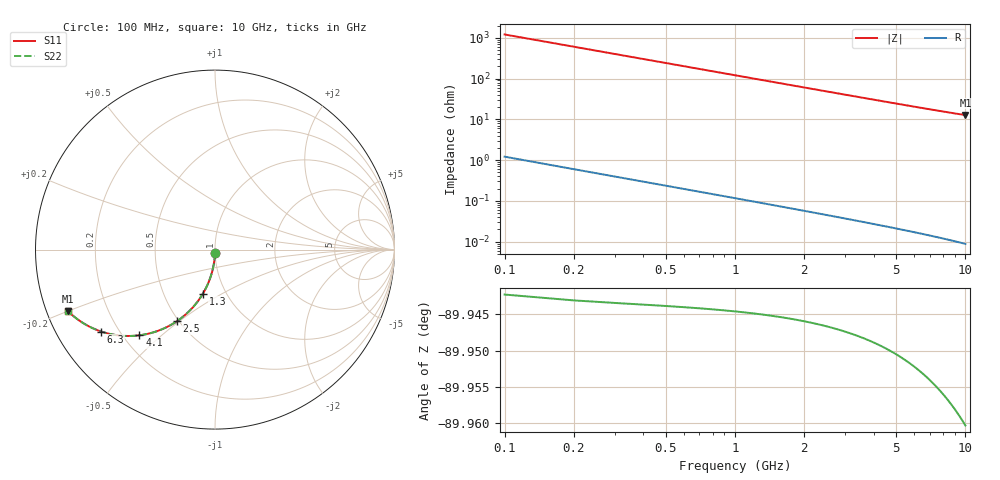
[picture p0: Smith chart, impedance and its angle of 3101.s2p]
# Hz S RI R 50.00
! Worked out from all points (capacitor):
!   100 points, 100 MHz to 10 GHz, reference 50 ohm
!   read as one part in shunt: C = 1.32 pF near 100 MHz
!   lowest |Z| = 12.7 ohm at 10 GHz (marker M1)
!   S11 on the Smith chart (normalised r, x): 100 MHz: 1.00, -0.04; 1.3 GHz: 0.78, -0.41; 2.5 GHz: 0.49, -0.49; 4.1 GHz: 0.26, -0.43; 6.3 GHz: 0.14, -0.32; 10 GHz: 0.06, -0.20
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1e8  -0.000307 -0.0203  0.9994 -0.0211  0.9994 -0.0211  -0.000307 -0.0203
2e8  -0.00161 -0.0406  0.9981 -0.0421  0.9981 -0.0421  -0.00161 -0.0406
3e8  -0.00376 -0.0607  0.996 -0.063  0.996 -0.063  -0.00376 -0.0607
4e8  -0.00674 -0.0807  0.993 -0.0837  0.993 -0.0837  -0.00674 -0.0807
5e8  -0.0105 -0.1005  0.9892 -0.1043  0.9892 -0.1043  -0.0105 -0.1005
6e8  -0.0152 -0.12  0.9845 -0.1246  0.9845 -0.1246  -0.0152 -0.12
8e8  -0.0267 -0.1581  0.973 -0.1642  0.973 -0.1642  -0.0267 -0.1581
1e9  -0.0411 -0.1946  0.9585 -0.2023  0.9585 -0.2023  -0.0411 -0.1946
1.3e9  -0.0676 -0.2459  0.932 -0.2559  0.932 -0.2559  -0.0676 -0.2459
1.5e9  -0.0881 -0.2775  0.9115 -0.2889  0.9115 -0.2889  -0.0881 -0.2775
1.8e9  -0.1222 -0.3203  0.8774 -0.3341  0.8774 -0.3341  -0.1222 -0.3203
2.1e9  -0.1593 -0.3576  0.8403 -0.3737  0.8403 -0.3737  -0.1593 -0.3576
2.5e9  -0.2119 -0.3987  0.7877 -0.4179  0.7877 -0.4179  -0.2119 -0.3987
2.9e9  -0.2658 -0.4303  0.7336 -0.4525  0.7336 -0.4525  -0.2658 -0.4303
3.4e9  -0.3326 -0.4577  0.6667 -0.4838  0.6667 -0.4838  -0.3326 -0.4577
4.1e9  -0.4208 -0.4774  0.5784 -0.509  0.5784 -0.509  -0.4208 -0.4774
5.1e9  -0.5303 -0.4788  0.4686 -0.5182  0.4686 -0.5182  -0.5303 -0.4788
6.3e9  -0.6342 -0.4564  0.3643 -0.5054  0.3643 -0.5054  -0.6342 -0.4564
6.7e9  -0.6628 -0.4458  0.3355 -0.498  0.3355 -0.498  -0.6628 -0.4458
7.5e9  -0.7122 -0.4223  0.2857 -0.481  0.2857 -0.481  -0.7122 -0.4223
8.4e9  -0.7575 -0.3942  0.24 -0.4603  0.24 -0.4603  -0.7575 -0.3942
1e10  -0.8174 -0.3445  0.179 -0.4241  0.179 -0.4241  -0.8174 -0.3445
